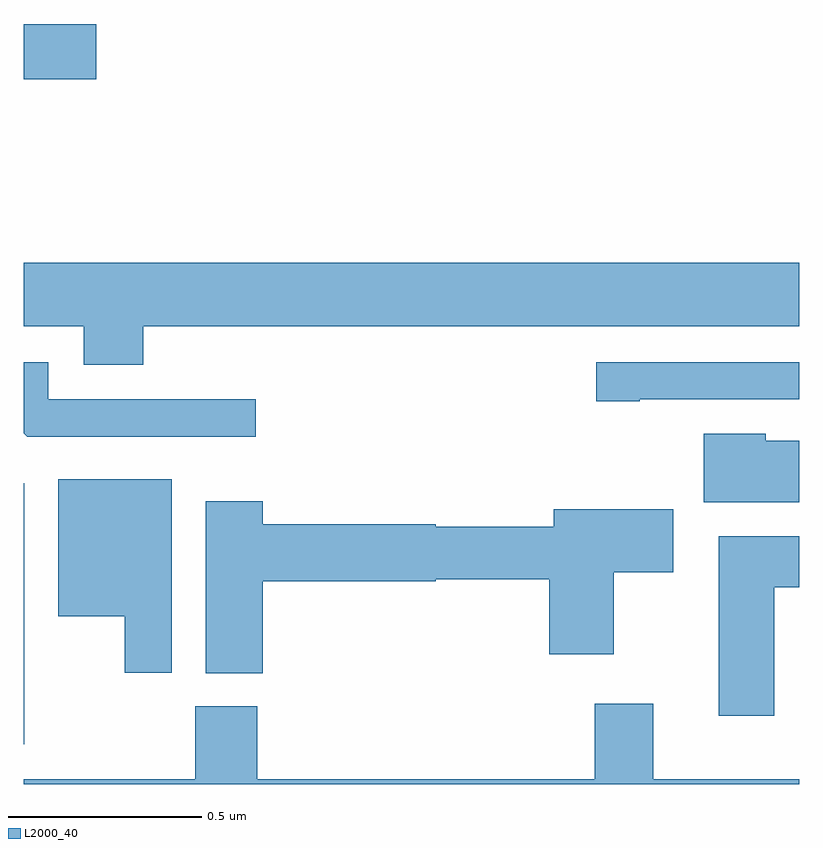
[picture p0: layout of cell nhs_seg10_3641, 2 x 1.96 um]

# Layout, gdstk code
import gdstk
lib = gdstk.Library(unit=1e-6, precision=1e-09)
def R(c, l, rs):  # rectangles x0, y0, x1, y1
    for r in rs: c.add(gdstk.rectangle(r[:2], r[2:], *l))
def P(c, l, *ps):  # polygons
    for p in ps: c.add(gdstk.Polygon(p, *l))
L2000_40 = (2000, 40)

nhs_seg10_3641 = lib.new_cell('nhs_seg10_3641')
R(nhs_seg10_3641, L2000_40, [(156,1270.318,156.187,1270.46)])
P(nhs_seg10_3641, L2000_40, [(156.308,1269.68),(158,1269.68),(158,1269.844),(156,1269.844),(156,1269.68),(156.155,1269.68),(156.155,1269.581),(156.308,1269.581)],
  [(156.598,1269.492),(156.063,1269.492),(156.063,1269.588),(156,1269.588),(156,1269.405),(156.009,1269.396),(156.598,1269.396)],
  [(157.588,1269.492),(158,1269.492),(158,1269.588),(157.476,1269.588),(157.476,1269.487),(157.588,1269.487)],
  [(158,1269.385),(157.914,1269.385),(157.914,1269.403),(157.754,1269.403),(157.754,1269.227),(158,1269.227)],
  [(156.382,1269.286),(156.089,1269.286),(156.089,1268.933),(156.26,1268.933),(156.26,1268.787),(156.382,1268.787)],
  [(156.001,1269.275),(156,1269.276),(156,1268.603),(156.001,1268.603)],
  [(156.617,1269.023),(157.062,1269.023),(157.062,1269.028),(157.355,1269.028),(157.355,1268.835),(157.522,1268.835),(157.522,1269.046),(157.675,1269.046),(157.675,1269.208),(157.367,1269.208),(157.367,1269.164),(157.062,1269.164),(157.062,1269.17),(156.617,1269.17),(156.617,1269.229),(156.47,1269.229),(156.47,1268.785),(156.617,1268.785)],
  [(157.936,1269.008),(158,1269.008),(158,1269.139),(157.793,1269.139),(157.793,1268.676),(157.936,1268.676)],
  [(158,1268.512),(157.624,1268.512),(157.624,1268.707),(157.472,1268.707),(157.472,1268.512),(156.602,1268.512),(156.602,1268.7),(156.442,1268.7),(156.442,1268.512),(156,1268.512),(156,1268.5),(158,1268.5)])

lib.write_gds('nhs_seg10_3641.gds')
